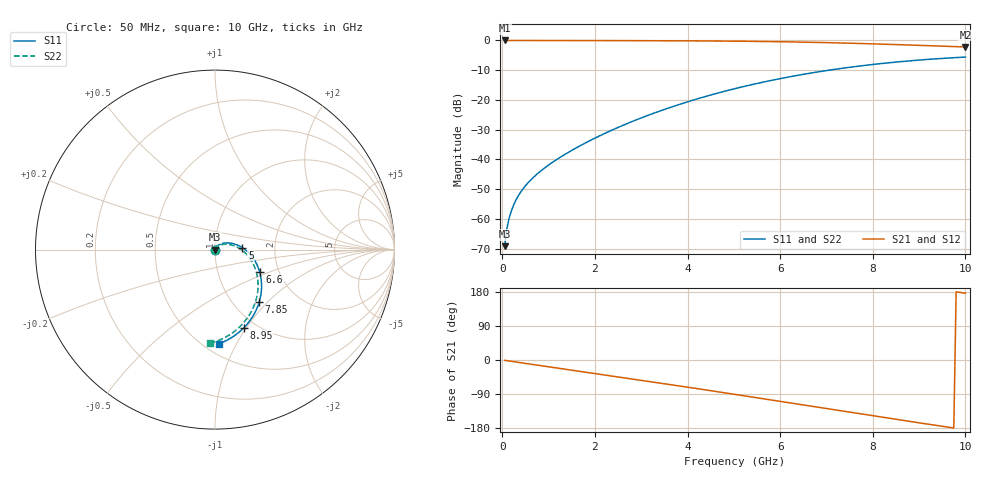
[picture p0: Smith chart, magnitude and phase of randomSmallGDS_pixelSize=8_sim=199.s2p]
! freq	dB(S11)	phase(S11)	dB(S12)	phase(S12)
!  dB(S21)	phase(S21)	dB(S22)	phase(S22)
!S-par simulation data
#  GHz  S  DB  R 50
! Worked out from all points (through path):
!   200 points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, 50 MHz to 10 GHz, reference 50 ohm
!   highest |S21| = 0.00 dB at 50 MHz (marker M1); lowest = -2.2 dB at 10 GHz (marker M2)
!   group delay of S21, straight-line fit = 51.5 ps
!   lowest |S11| = -69.2 dB at 50 MHz (marker M3), VSWR 1.00, Z = 50 + j0.0346 ohm
!   |S11| at or under -10 dB: start of sweep to 7.052 GHz
!   |S22| runs from -69.2 to -5.6 dB; largest |S21 - S12| = 0
!   S11 on the Smith chart (normalised r, x): 50 MHz: 1.00, +0.00; 5 GHz: 1.36, +0.03; 6.6 GHz: 1.59, -0.43; 7.85 GHz: 1.30, -0.90; 8.95 GHz: 0.88, -0.97; 10 GHz: 0.59, -0.85
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0.05  -69.18 83.8  -0.00 -0.9  -0.00 -0.9  -69.18 83.5
0.1  -63.18 85.9  -0.00 -1.8  -0.00 -1.8  -63.18 85.3
0.15  -59.64 86.1  -0.00 -2.7  -0.00 -2.7  -59.65 85.3
0.2  -57.12 85.9  -0.00 -3.6  -0.00 -3.6  -57.13 84.9
0.3  -53.53 85.1  -0.00 -5.4  -0.00 -5.4  -53.54 83.5
0.45  -49.85 83.3  -0.01 -8.0  -0.01 -8.0  -49.86 81.0
0.65  -46.36 80.7  -0.01 -11.6  -0.01 -11.6  -46.37 77.5
0.95  -42.44 76.5  -0.02 -16.9  -0.02 -16.9  -42.47 72.2
1.75  -34.83 64.0  -0.04 -31.0  -0.04 -31.0  -34.88 57.8
2.55  -28.91 49.9  -0.05 -45.3  -0.05 -45.3  -28.96 43.3
3.4  -23.74 34.2  -0.09 -60.6  -0.09 -60.6  -23.78 27.8
4.2  -19.69 19.1  -0.14 -75.3  -0.14 -75.3  -19.73 13.1
5  -16.30 4.0  -0.23 -90.3  -0.23 -90.3  -16.34 -1.8
5.05  -16.10 3.1  -0.24 -91.2  -0.24 -91.2  -16.14 -2.7
5.8  -13.46 -11.2  -0.38 -105.4  -0.38 -105.4  -13.50 -16.8
6.6  -11.12 -26.5  -0.59 -120.7  -0.59 -120.7  -11.16 -31.8
6.7  -10.86 -28.4  -0.62 -122.6  -0.62 -122.6  -10.90 -33.7
7.3  -9.44 -39.7  -0.84 -134.1  -0.84 -134.1  -9.48 -45.0
7.85  -8.35 -50.0  -1.07 -144.5  -1.07 -144.5  -8.39 -55.2
8.35  -7.50 -59.1  -1.31 -153.9  -1.31 -153.9  -7.54 -64.3
8.95  -6.66 -69.8  -1.62 -164.9  -1.62 -164.9  -6.70 -75.0
10  -5.59 -87.8  -2.19 176.2  -2.19 176.2  -5.64 -93.2
